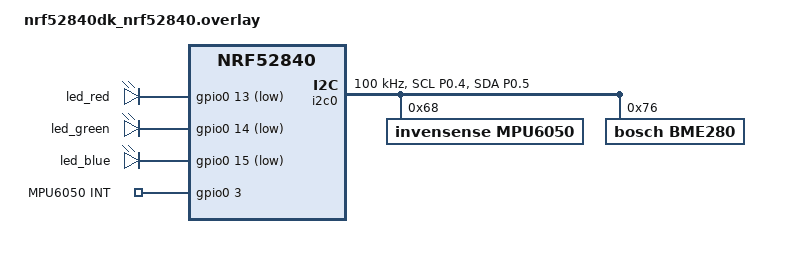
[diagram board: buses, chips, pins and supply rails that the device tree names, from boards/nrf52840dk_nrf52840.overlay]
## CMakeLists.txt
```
# 1. This MUST be the first line
cmake_minimum_required(VERSION 3.20.0)

# 2. This loads the Zephyr engine. 
# HINTS $ENV{ZEPHYR_BASE} is the "safety net" for the terminal.
find_package(Zephyr REQUIRED HINTS $ENV{ZEPHYR_BASE})

# 3. This MUST come AFTER find_package
project(lima-node)

# 4. This MUST come AFTER find_package because Zephyr defines 'app'
target_sources(app PRIVATE 
    src/main.c
    src/fsm.c
    src/crypto.c
    src/ble.c
    src/rtc.c
)
```

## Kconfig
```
# L.I.M.A. Firmware Configuration

source "Kconfig.zephyr"

config LIMA_MAIN_LOG_LEVEL
    int "LIMA main log level"
    default 3
    range 0 4

config LIMA_FSM_LOG_LEVEL
    int "LIMA FSM log level"
    default 3
    range 0 4

config LIMA_CRYPTO_LOG_LEVEL
    int "LIMA crypto log level"
    default 3
    range 0 4

config LIMA_DEEP_SLEEP_INTERVAL_MS
    int "Deep sleep wakeup interval (ms)"
    default 120000

config LIMA_BARO_THRESHOLD_PA
    int "Barometric pressure breach threshold in Pascals"
    default 5

config LIMA_CRYPTO_KEY_ID
    hex "PSA persistent key slot ID for LIMA signing key"
    default 0x00000001

config LIMA_BLE_LOG_LEVEL
    int "LIMA BLE log level"
    default 3
    range 0 4

config LIMA_BLE_ADV_DURATION_MS
    int "BLE advertisement duration (ms)"
    default 500

config LIMA_PROVISION_UNIX_TIME
    int "RTC provisioning timestamp (Unix epoch, 0 = disabled)"
    default 0

config LIMA_RTC_LOG_LEVEL
    int "LIMA RTC log level"
    default 3

config LIMA_FORCE_PROVISION
    bool "Force-write provisioning epoch to DS3231 and NVS on boot"
    default n

config LIMA_CRYPTO_AES_KEY_ID
	int "PSA persistent key slot ID for AES-256-GCM encryption key"
	default 2
	help
	  PSA ITS key slot for the AES-256 pre-shared key used for
	  GCM encryption of (LER || inner_sig) in the LIMA Frame (LF).
	  Must not conflict with CONFIG_LIMA_CRYPTO_KEY_ID (default 1).
	  On first boot the key is generated, logged in hex, and persisted.
	  Operator captures the hex from serial log and stores in Bitwarden.
```

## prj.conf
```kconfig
# Core Kernel Features
CONFIG_GPIO=y

# Logging
CONFIG_SERIAL=y
CONFIG_UART_CONSOLE=y
CONFIG_PRINTK=y
CONFIG_LOG=y
CONFIG_LOG_DEFAULT_LEVEL=3
CONFIG_LOG_MODE_DEFERRED=y

# I2C
CONFIG_I2C=y
CONFIG_I2C_LOG_LEVEL_DBG=y

# Sensors
CONFIG_SENSOR=y
CONFIG_MPU6050=y
CONFIG_BME280=y
CONFIG_LIMA_BARO_THRESHOLD_PA=5
CONFIG_BME280_FILTER_OFF=y

# RTC
CONFIG_COUNTER=y
CONFIG_POSIX_API=y
CONFIG_LIMA_PROVISION_UNIX_TIME=1774226034

# Stack protection / fault dumps
CONFIG_FAULT_DUMP=2
CONFIG_HW_STACK_PROTECTION=y
CONFIG_MPU_STACK_GUARD=y
CONFIG_WATCHDOG=y

# FPU for sqrt/math
CONFIG_FPU=y

# Heap and workqueue
CONFIG_HEAP_MEM_POOL_SIZE=8192
CONFIG_SYSTEM_WORKQUEUE_STACK_SIZE=8192
CONFIG_MAIN_STACK_SIZE=4096
CONFIG_LOG_BUFFER_SIZE=4096

# Power Management — PM_DEVICE only, CONFIG_PM not supported on this board
CONFIG_PM_DEVICE=y
CONFIG_LIMA_DEEP_SLEEP_INTERVAL_MS=6000
CONFIG_NRF_SECURITY=y
CONFIG_MBEDTLS_PSA_CRYPTO_C=y
CONFIG_MBEDTLS_ENABLE_HEAP=y
CONFIG_MBEDTLS_HEAP_SIZE=8192
CONFIG_PSA_CRYPTO_DRIVER_OBERON=y
CONFIG_PSA_WANT_GENERATE_RANDOM=y
CONFIG_PSA_WANT_ALG_CTR_DRBG=y
CONFIG_PSA_WANT_ALG_ECDSA=y
CONFIG_PSA_WANT_ALG_SHA_256=y
CONFIG_PSA_WANT_ECC_SECP_R1_256=y
CONFIG_PSA_WANT_KEY_TYPE_ECC_KEY_PAIR_GENERATE=y
CONFIG_PSA_WANT_KEY_TYPE_ECC_PUBLIC_KEY=y

# Bluetooth
CONFIG_BT=y
CONFIG_BT_BROADCASTER=y
CONFIG_BT_CTLR_ADV_DATA_LEN_MAX=255
CONFIG_BT_EXT_ADV=y
CONFIG_BT_EXT_ADV_MAX_ADV_SET=1
# CONFIG_BT_PERIPHERAL=y
CONFIG_BT_DEVICE_NAME="LIMA_NODE_01"

# Persistent storage
CONFIG_SETTINGS=y
CONFIG_SETTINGS_NVS=y
CONFIG_NVS_LOOKUP_CACHE=y

CONFIG_FLASH=y
CONFIG_FLASH_MAP=y
CONFIG_NVS=y
CONFIG_PSA_WANT_KEY_TYPE_ECC_KEY_PAIR_IMPORT=y
CONFIG_PSA_WANT_KEY_TYPE_ECC_KEY_PAIR_EXPORT=y
CONFIG_WATCHDOG=y
CONFIG_WDT_NRFX=y
CONFIG_SETTINGS_RUNTIME=y
CONFIG_SECURE_STORAGE=y

CONFIG_SHELL=y
CONFIG_I2C_SHELL=y
```

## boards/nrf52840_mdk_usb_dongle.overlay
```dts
&i2c0 {
    status = "okay";
    pinctrl-0 = <&i2c0_default>;
    pinctrl-1 = <&i2c0_sleep>;
    pinctrl-names = "default","sleep";
    mpu6050@68 {
        compatible = "invensense,mpu6050";
        reg = <0x68>;
        int-gpios = <&gpio0 8 GPIO_ACTIVE_HIGH>;
    };
};


&pinctrl {
    i2c0_default: i2c0_default {
        group1 {
            psels = <NRF_PSEL(TWIM_SCL, 0, 19)>,
                    <NRF_PSEL(TWIM_SDA, 0, 20)>;
            bias-pull-up;        
        };
    };
    uart0_default: uart0_default {
        group1 {
            psels = <NRF_PSEL(UART_TX, 0, 6)>;
            bias-disable;
        };
    };
    uart0_sleep: uart0_sleep {
        group1 {
            psels = <NRF_PSEL(UART_TX, 0, 6)>;
            low-power-enable;
        };
    };
    i2c0_sleep: i2c0_sleep {
        group1 {
            psels = <NRF_PSEL(TWIM_SCL, 0, 19)>,
                    <NRF_PSEL(TWIM_SDA, 0, 20)>;
            low-power-enable;
        };
    };
};

&uart0 {
    status = "okay";
    current-speed = <115200>;
    pinctrl-0 = <&uart0_default>;
    pinctrl-1 = <&uart0_sleep>;
    pinctrl-names = "default", "sleep";
};


/ {
    leds {
        compatible = "gpio-leds";
        led_red: led_0 {
            gpios = <&gpio0 23 GPIO_ACTIVE_LOW>;
        };
        led_green: led_1 {
            gpios = <&gpio0 22 GPIO_ACTIVE_LOW>;
        };
        led_blue: led_2 {
            gpios = <&gpio0 24 GPIO_ACTIVE_LOW>;
        };
    };
    
    keys {
        compatible = "gpio-keys";
        mpu_int: mpu_int {
            gpios = <&gpio0 8 GPIO_ACTIVE_HIGH>;
            label = "MPU6050 INT";
        };
    };

    aliases {
        led0 = &led_red;
        led1 = &led_green;
        led2 = &led_blue;
        mpu-int = &mpu_int;    // ← add this
    };
};
```

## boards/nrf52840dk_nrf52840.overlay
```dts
&i2c0 {
    compatible = "nordic,nrf-twim";
    /delete-property/ zephyr,pm-device-runtime-auto;
    status = "okay";
    pinctrl-0 = <&i2c0_default>;
    pinctrl-1 = <&i2c0_sleep>;
    pinctrl-names = "default", "sleep";
    clock-frequency = <I2C_BITRATE_STANDARD>;

    mpu6050: mpu6050@68 {
        compatible = "invensense,mpu6050";
        reg = <0x68>;
        status = "okay";
        accel-fs = <2>;
        gyro-fs = <250>;
        smplrt-div = <0>;
    };

    bme280: bme280@76 {
        compatible = "bosch,bme280";
        reg = <0x76>;
        status = "okay";
    };
};

&pinctrl {
    i2c0_default: i2c0_default {
        group1 {
            psels = <NRF_PSEL(TWIM_SCL, 0, 4)>,
                    <NRF_PSEL(TWIM_SDA, 0, 5)>;
            bias-pull-up;
        };
    };
    i2c0_sleep: i2c0_sleep {
        group1 {
            psels = <NRF_PSEL(TWIM_SCL, 0, 4)>,
                    <NRF_PSEL(TWIM_SDA, 0, 5)>;
            low-power-enable;
        };
    };
};

// nrf52840 usb dongle version UART
// &pinctrl {
//     uart0_default: uart0_default {
//         group1 {
//             psels = <NRF_PSEL(UART_TX, 0, 6)>,
//                     <NRF_PSEL(UART_RX, 0, 8)>;
//             bias-disable;
//         };
//     };
//     uart0_sleep: uart0_sleep {
//         group1 {
//             psels = <NRF_PSEL(UART_TX, 0, 6)>,
//                     <NRF_PSEL(UART_RX, 0, 8)>;
//             low-power-enable;
//         };
//     };
// };
// &uart0 {
//     status = "okay";
//     current-speed = <115200>;
//     pinctrl-0 = <&uart0_default>;
//     pinctrl-1 = <&uart0_sleep>;
//     pinctrl-names = "default", "sleep";
// };

/ {
    leds {
        compatible = "gpio-leds";
        led_red: led_0 {
            gpios = <&gpio0 13 GPIO_ACTIVE_LOW>;
        };
        led_green: led_1 {
            gpios = <&gpio0 14 GPIO_ACTIVE_LOW>;
        };
        led_blue: led_2 {
            gpios = <&gpio0 15 GPIO_ACTIVE_LOW>;
        };
    };
    keys {
        compatible = "gpio-keys";
        mpu_int: mpu_int {
            gpios = <&gpio0 3 GPIO_ACTIVE_HIGH>;
            label = "MPU6050 INT";
        };
    };
    aliases {
        led0 = &led_red;
        led1 = &led_green;
        led2 = &led_blue;
        mpu-int = &mpu_int;
    };
};
```

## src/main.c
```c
/*
 * ============================================================================
 * Project: L.I.M.A. (Local Integrity Multi-modal Architecture)
 * File:    main.c
 * Author:  Justin Knox
 * Date:    Feb 2026
 *
 * Description: 
 * Event-driven FSM for edge integrity monitoring. Uses a decoupled 
 * thread model to separate high-frequency sensor polling from 
 * cryptographic signing and BLE transmission states.
 *
 * Architecture:
 * ├── #includes & defines     (System & Zephyr RTOS config)
 * ├── Hardware Globals        (LEDs, MPU6050, Message Queues)
 * ├── HAL & Stubs             (I2C Recovery, IMU Read, Crypto/BLE stubs)
 * ├── FSM Engine              (State transitions & Entry/Exit logic)
 * ├── fsm_dispatch()          (Event-to-State routing)
 * ├── Thread Functions        (sensor_thread_fn, fsm_thread_fn)
 * ├── K_THREAD_DEFINE x2      (Static thread allocation)
 * └── main()                  (Hardware init & Thread resumption)
 * ============================================================================
 */

#include <zephyr/kernel.h>
#include <zephyr/kernel/thread.h>
#include <zephyr/drivers/gpio.h>
#include <zephyr/drivers/sensor.h>
#include <zephyr/drivers/watchdog.h>
#include <zephyr/logging/log.h>
#include <zephyr/bluetooth/bluetooth.h>
#include <zephyr/settings/settings.h>
#include <zephyr/drivers/i2c.h>
#include <zephyr/sys/notify.h>
#include "ble.h"
#include <math.h>
#include <time.h>
#include "events.h"
#include "fsm.h"
#include "crypto.h"
#include "rtc.h"

LOG_MODULE_REGISTER(lima_main, LOG_LEVEL_INF);

// #define I2C0_SCL_PIN 19
// #define I2C0_SDA_PIN 20
#define I2C0_SCL_PIN 04
#define I2C0_SDA_PIN 05

/* ── Board definitions ───────────────────────────────────────────────────── */

#define LED_R_NODE DT_ALIAS(led0)
#define LED_G_NODE DT_ALIAS(led1)
#define LED_B_NODE DT_ALIAS(led2)

/* ── Configuration ───────────────────────────────────────────────────────── */

#define FSM_MSGQ_DEPTH          16
#define FSM_THREAD_PRIORITY     5
#define SENSOR_THREAD_PRIORITY  6
#define POLL_INTERVAL_MS        60      /* 16.67 Hz — matches your working blinky */
#define COOLDOWN_MS_DEFAULT     5000    /* 5s default; tune per deployment         */
#define MOTION_THRESHOLD_G      0.80     /* 1.1 good for table top     */
#define FSM_STACK_SIZE          8192  // Double it again
#define SENSOR_STACK_SIZE       4096  // Double it again


/* ── Hardware globals ────────────────────────────────────────────────────── */

static const struct gpio_dt_spec led_r = GPIO_DT_SPEC_GET(LED_R_NODE, gpios);
static const struct gpio_dt_spec led_g = GPIO_DT_SPEC_GET(LED_G_NODE, gpios);
static const struct gpio_dt_spec led_b = GPIO_DT_SPEC_GET(LED_B_NODE, gpios);

/* motion sensor */
static const struct device *mpu;
static struct sensor_value accel[3];

/* baro sensor */
static const struct device *bme;
static struct sensor_value baro_press;
static float baro_baseline_hpa = 0.0f;

/* Sleep LED state */
static struct k_work_delayable sleep_led_work;
static uint8_t sleep_led_on = 0;
static uint32_t sleep_led_interval_ms = 0;
static uint8_t sleep_led_white = 0;  /* 1 = white pulse (deep), 0 = red+blue (light) */


/* I2C prototype */
static void hw_i2c_bus_recovery(void);

/* onboard watchdog */
const struct device *wdt = DEVICE_DT_GET(DT_NODELABEL(wdt0));
static int wdt_channel_id;


/* ── Message queue ───────────────────────────────────────────────────────── */

K_MSGQ_DEFINE(fsm_msgq, sizeof(lima_event_t), FSM_MSGQ_DEPTH, 4);

int lima_post_event(const lima_event_t *evt)
{
    return k_msgq_put(&fsm_msgq, evt, K_NO_WAIT);
}

/* Non-blocking timer for cooldown */
// static struct k_work_delayable cooldown_work; 

/* Non-blocking timer tx timeout */
// static struct k_work_delayable tx_timeout_work;

/* Threads */
static void sensor_thread_fn(void *p1, void *p2, void *p3);
static void fsm_thread_fn(void *p1, void *p2, void *p3);


/* ── Heartbeat timer (ARMED state blue pulse) ────────────────────────────── */

static void heartbeat_expiry_fn(struct k_timer *timer_id);
K_TIMER_DEFINE(heartbeat_timer, heartbeat_expiry_fn, NULL);

static void heartbeat_expiry_fn(struct k_timer *timer_id)
{
    ARG_UNUSED(timer_id);
    static uint8_t tick = 0;

    /* Double-blink pattern: on at tick 0 and 2, off otherwise.
     * Period = 20 ticks × 100 ms = 2 seconds. */
    bool led_on = (tick == 0 || tick == 2);
    gpio_pin_set_dt(&led_b, led_on ? 1 : 0);
    tick = (tick + 1) % 20;
}

/* ── Sleep LED timer ─────────────────────────────────────────────────────── */

static void sleep_led_expiry_fn(struct k_work *work)
{
    sleep_led_on = !sleep_led_on;
    gpio_pin_set_dt(&led_r, sleep_led_on ? 1 : 0);
    gpio_pin_set_dt(&led_g, (sleep_led_on && sleep_led_white) ? 1 : 0);
    gpio_pin_set_dt(&led_b, sleep_led_on ? 1 : 0);

    /* Reschedule only if interval is still set */
    if (sleep_led_interval_ms > 0) {
        k_work_reschedule(&sleep_led_work, K_MSEC(sleep_led_interval_ms));
    }
}

/* ── WDT keepalive timer ──────────────────────────────────────────────────── */

static void wdt_keepalive_cb(struct k_timer *t) {
    LOG_INF("[WDT] keepalive ticked..........");
    fsm_hw_wdt_kick();
}
K_TIMER_DEFINE(wdt_keepalive_timer, wdt_keepalive_cb, NULL);


/* ── Node identity ───────────────────────────────────────────────────────── */

static uint8_t node_id[6];

static void hw_init_node_id(void)
{
    bt_addr_le_t addr;
    size_t count = 1;

    bt_id_get(&addr, &count);

    /* Copy in reverse — BT address is little-endian, node_id is human-readable */
    for (int i = 0; i < 6; i++) {
        node_id[i] = addr.a.val[5 - i];
    }

    LOG_INF("NODE ID: %02X:%02X:%02X:%02X:%02X:%02X",
            node_id[0], node_id[1], node_id[2],
            node_id[3], node_id[4], node_id[5]);

    k_timer_start(&wdt_keepalive_timer, K_MSEC(15000), K_MSEC(15000));
}

/* ── Hardware Abstraction Layer ──────────────────────────────────────────── */

static int hw_init_sensors(void)
{
    mpu = DEVICE_DT_GET_ANY(invensense_mpu6050);

    if (mpu == NULL) {
        LOG_ERR("MPU6050 device not found in devicetree!");
        return -ENODEV;
    }
    if (!device_is_ready(mpu)) {
        LOG_ERR("MPU6050 not ready!");
        return -ENODEV;
    }
    LOG_INF("MPU6050 ready");

    bme = DEVICE_DT_GET_ANY(bosch_bme280);

    if (bme == NULL) {
        LOG_ERR("BME280 device not found in devicetree!");
        return -ENODEV;
    }
    if (!device_is_ready(bme)) {
        LOG_ERR("BME280 not ready!");
        return -ENODEV;
    }
    LOG_INF("BME280 ready");
    return 0;
}

static double hw_read_imu(void)
{
    if (mpu == NULL) return -1.0;

    int ret = sensor_sample_fetch(mpu);
    if (ret < 0) {
        // LOG_WRN("MPU6050: fetch failed (%d)", ret);
        LOG_WRN("MPU6050: fetch failed (%d), attempting bus recovery", ret);
        hw_i2c_bus_recovery();
        k_msleep(10);
        ret = sensor_sample_fetch(mpu);
        if (ret < 0) {
            LOG_ERR("MPU6050: fetch failed after recovery (%d)", ret);
            return -1.0;
        }
        LOG_INF("MPU6050: recovered successfully");
    }
    
    sensor_channel_get(mpu, SENSOR_CHAN_ACCEL_XYZ, accel);

    double ax = sensor_value_to_double(&accel[0]);
    double ay = sensor_value_to_double(&accel[1]);
    double az = sensor_value_to_double(&accel[2]);

    double mag_ms2   = sqrt(ax * ax + ay * ay + az * az);
    double current_g = mag_ms2 / 9.80665;
    double motion_g  = fabs(current_g - 1.0);

    LOG_DBG("Raw: %.2f m/s2 | Motion: %.2f G", mag_ms2, motion_g);
    return motion_g;
}

static float hw_read_baro(void)
{
    if (bme == NULL) return 0.0f;

    int ret = sensor_sample_fetch(bme);
    if (ret < 0) {
        LOG_WRN("BME280: fetch failed (%d), attempting bus recovery", ret);
        hw_i2c_bus_recovery();
        k_msleep(10);
        ret = sensor_sample_fetch(bme);
        if (ret < 0) {
            LOG_ERR("BME280: fetch failed after recovery (%d)", ret);
            return 0.0f;
        }
        LOG_INF("BME280: recovered successfully");
    }

    sensor_channel_get(bme, SENSOR_CHAN_PRESS, &baro_press);
    float abs_hpa = (float)sensor_value_to_double(&baro_press);
    
    /* First reading sets the baseline */
    if (baro_baseline_hpa == 0.0f) {
        baro_baseline_hpa = abs_hpa;
        LOG_INF("BARO: baseline set to %.2f hPa", (double)abs_hpa);
        return 0.0f;
    }

    /* Compute delta BEFORE updating baseline */
    float delta_pa = (abs_hpa - baro_baseline_hpa) * 100.0f;
    LOG_DBG("BARO: %.2f hPa | delta %.2f Pa", (double)abs_hpa, (double)delta_pa);

    /* Now walk baseline toward current reading to absorb slow drift */
    baro_baseline_hpa += (abs_hpa - baro_baseline_hpa) * 0.01f;

    return delta_pa;
}

static void hw_i2c_bus_recovery(void)
{
    LOG_INF("BOOT: I2C bus recovery on P0.%d/P0.%d", I2C0_SCL_PIN, I2C0_SDA_PIN);

    // const struct device *gpio0_dev = DEVICE_DT_GET(DT_NODELABEL(gpio0));
    // if (!device_is_ready(gpio0_dev)) {
    //     LOG_ERR("GPIO0 device not ready for recovery");
    //     return;
    // }

    // gpio_pin_configure(gpio0_dev, I2C0_SCL_PIN, GPIO_OUTPUT_HIGH);
    // gpio_pin_configure(gpio0_dev, I2C0_SDA_PIN, GPIO_INPUT);

    // for (int i = 0; i < 9; i++) {
    //     gpio_pin_set_raw(gpio0_dev, I2C0_SCL_PIN, 1);
    //     k_busy_wait(5);
    //     gpio_pin_set_raw(gpio0_dev, I2C0_SCL_PIN, 0);
    //     k_busy_wait(5);
    // }
    // gpio_pin_set_raw(gpio0_dev, I2C0_SCL_PIN, 1);

    // gpio_pin_configure(gpio0_dev, I2C0_SCL_PIN, GPIO_DISCONNECTED);
    // gpio_pin_configure(gpio0_dev, I2C0_SDA_PIN, GPIO_DISCONNECTED);

    LOG_INF("BOOT: I2C recovery complete");
}


/* ── HAL Stubs (swap in real implementations one at a time) ──────────────── */

static int hw_calibrate(void)
{
    LOG_INF("[STUB] calibrate");
    return 0;
}

static int hw_enable_irqs(void)
{
    LOG_INF("[STUB] enable_sensor_irqs");
    return 0;
}

static int hw_enter_light_sleep(void)
{
    LOG_INF("[SLEEP] light sleep active — waiting for sensor IRQ or inactivity timeout");
    // TODO: real PM_STATE_SUSPEND_TO_IDLE goes here
    // Duration is now owned by inactivity_work timer in fsm.c
    return 0;
}

static int hw_sign_event(lima_event_t *e)
{
    LOG_INF("[STUB] sign_event type=0x%02X", e->type);
    return 0;
}

static int hw_ble_advertise(lima_event_t *e)
{
    LOG_INF("[STUB] ble_advertise type=0x%02X", e->type);
    return 0;
}

static int hw_ble_stop(void)
{
    LOG_INF("[STUB] ble_stop");
    return 0;
}

static void hw_assert_fault_led(void)
{
    LOG_INF("[STUB] assert_fault_led");
}

static int hw_try_recover(void)
{
    LOG_INF("[STUB] try_recover");
    return 0;
}

void fsm_hw_wdt_kick(void)
{
    wdt_feed(wdt, wdt_channel_id);
}

static void hw_watchdog_init(void)
{
    struct wdt_timeout_cfg wdt_cfg = {
        .flags = WDT_FLAG_RESET_SOC,
        .window.min = 0,
        .window.max = 30000,   /* 30s — comfortably above worst-case FSM path */
    };

    if (!device_is_ready(wdt)) {
        LOG_ERR("WDT: device not ready");
        return;
    }

    wdt_channel_id = wdt_install_timeout(wdt, &wdt_cfg);
    if (wdt_channel_id < 0) {
        LOG_ERR("WDT: timeout install failed (%d)", wdt_channel_id);
        return;
    }

    int ret = wdt_setup(wdt, WDT_OPT_PAUSE_HALTED_BY_DBG);
    if (ret < 0) {
        LOG_ERR("WDT: setup failed (%d)", ret);
        return;
    }
    
    // k_work_init_delayable(&rtc_fallback_work, rtc_fallback_cb);

    LOG_INF("WDT: armed — 30s timeout, SOC reset on expiry");
    fsm_hw_wdt_kick();
}

static void hw_notify_low_battery(void)
{
    LOG_INF("[STUB] notify_low_battery");
}

/* Suppress "defined but not used" warnings for stubs not yet wired */
static void __attribute__((unused)) suppress_stub_warnings(void)
{
    (void)hw_calibrate;
    (void)hw_enable_irqs;
    (void)hw_sign_event;
    (void)hw_ble_advertise;
    (void)hw_ble_stop;
    (void)hw_assert_fault_led;
    (void)hw_try_recover;
    (void)hw_notify_low_battery;
}

/* ── fsm_hw_* Trampolines (called by fsm.c) ──────────────────────────────── */

void fsm_hw_enter_sleep(void)
{
    hw_enter_light_sleep();
}

void fsm_hw_enter_deep_sleep(void)
{
    lima_rtc_arm_wakeup(CONFIG_LIMA_DEEP_SLEEP_INTERVAL_MS);
    hw_ble_stop();
}

/**
 * @brief Physical hardware response to FSM state changes.
 *        Called by fsm.c during every transition.
 */
void fsm_hw_set_led(lima_state_t state)
{
    /* Stop the heartbeat before changing LEDs; restart it only for ARMED */
    k_timer_stop(&heartbeat_timer);
    k_work_cancel_delayable(&sleep_led_work);
    sleep_led_interval_ms = 0;
    
    gpio_pin_set_dt(&led_r, 0);
    gpio_pin_set_dt(&led_g, 0);
    gpio_pin_set_dt(&led_b, 0);

    switch (state) {
    case STATE_BOOT:
    case STATE_CALIBRATING:
        /* White (R+G+B) during init */
        gpio_pin_set_dt(&led_r, 1);
        gpio_pin_set_dt(&led_g, 1);
        gpio_pin_set_dt(&led_b, 1);
        break;

    case STATE_ARMED:
        /* Blue double-blink heartbeat */
        k_timer_start(&heartbeat_timer, K_MSEC(100), K_MSEC(100));
        break;

    case STATE_EVENT_DETECTED:
    case STATE_SIGNING:
    case STATE_TRANSMITTING:
        /* Solid Red during active alert pipeline */
        gpio_pin_set_dt(&led_r, 1);
        break;

    case STATE_COOLDOWN:
        /* Yellow (R+G) during suppression window */
        gpio_pin_set_dt(&led_r, 1);
        gpio_pin_set_dt(&led_g, 1);
        break;

    case STATE_FAULT:
        /* Solid Red + log */
        gpio_pin_set_dt(&led_r, 1);
        LOG_ERR("HARDWARE: Fault LED asserted");
        break;

    case STATE_LOW_BATTERY:
        /* Dim amber: just Red at low duty — use solid for simplicity now */
        gpio_pin_set_dt(&led_r, 1);
        break;

    case STATE_LIGHT_SLEEP:
        sleep_led_white = 0;
        sleep_led_interval_ms = 2000;
        k_work_reschedule(&sleep_led_work, K_MSEC(sleep_led_interval_ms));
        break;

    case STATE_DEEP_SLEEP:
        /* Slow white ghost-pulse — all three channels, 4s interval */
        sleep_led_white = 1;
        gpio_pin_set_dt(&led_r, 1);
        gpio_pin_set_dt(&led_g, 1);
        gpio_pin_set_dt(&led_b, 1);
        sleep_led_interval_ms = 4000;
        k_work_reschedule(&sleep_led_work, K_MSEC(sleep_led_interval_ms));
        break;

    default:
        /* Dark for sleep states */
        break;
    }
}

/* ── Sensor Thread ───────────────────────────────────────────────────────── */

static void sensor_thread_fn(void *p1, void *p2, void *p3)
{
    ARG_UNUSED(p1); ARG_UNUSED(p2); ARG_UNUSED(p3);
    LOG_INF("Sensor thread started... sleeping 500ms for FSM boot & calibration...");

    /* Wait for FSM to finish BOOT + CALIBRATING */
    k_sleep(K_MSEC(500));

    LOG_INF("Sensor thread: 500ms expired...");
    
    while (1) {
    lima_state_t s = fsm_get_state();
    if (s == STATE_ARMED || s == STATE_LIGHT_SLEEP) {
        bool event_fired = false;

        double magnitude = hw_read_imu();
        if (magnitude >= 0.0 && magnitude > MOTION_THRESHOLD_G) {
            LOG_INF("MOTION: %.2f g (threshold=%.2f)", magnitude, MOTION_THRESHOLD_G);
            lima_event_t e = {
                .type             = LIMA_EVT_MOTION_DETECTED,
                .timestamp_ms     = (uint32_t)lima_rtc_timestamp_ms(),
                .data.imu.accel_g = (float)magnitude,
            };
            lima_post_event(&e);
            event_fired = true;
        }
        float delta_pa = hw_read_baro();
        if (fabsf(delta_pa) > CONFIG_LIMA_BARO_THRESHOLD_PA) {
            LOG_INF("BARO: delta=%.2f Pa (threshold=%d)", (double)delta_pa, CONFIG_LIMA_BARO_THRESHOLD_PA);
            lima_event_t e = {
                .type               = LIMA_EVT_PRESSURE_BREACH,
                .timestamp_ms = (uint32_t)lima_rtc_timestamp_ms(),
                .data.baro.delta_pa = delta_pa,
            };
            lima_post_event(&e);
            event_fired = true;
        }

        if (!event_fired) {
            lima_event_t tick = {
                .type         = LIMA_EVT_POLL_TICK,
                .timestamp_ms = (uint32_t)lima_rtc_timestamp_ms(),
            };
            lima_post_event(&tick);
        }
    }
    k_msleep(POLL_INTERVAL_MS);
}
}



/* ── FSM thread ──────────────────────────────────────────────────────────── */

static void fsm_thread_fn(void *p1, void *p2, void *p3)
{
    ARG_UNUSED(p1); ARG_UNUSED(p2); ARG_UNUSED(p3);
    LOG_INF("FSM thread started");

    fsm_init();

    lima_event_t msg;
    while (1) {
        if (k_msgq_get(&fsm_msgq, &msg, K_FOREVER) == 0) {
            fsm_dispatch(&msg);
        }
    }
}

K_THREAD_DEFINE(fsm_thread, FSM_STACK_SIZE,
                fsm_thread_fn, NULL, NULL, NULL,
                FSM_THREAD_PRIORITY, 0, 0);

K_THREAD_DEFINE(sensor_thread, SENSOR_STACK_SIZE,
                sensor_thread_fn, NULL, NULL, NULL,
                SENSOR_THREAD_PRIORITY, 0, 0);
                
/* ── main ────────────────────────────────────────────────────────────────── */

int main(void)
{
    LOG_INF("L.I.M.A. node firmware starting");
    LOG_INF("L.I.M.A.: suspending threads...");

    hw_watchdog_init();
    k_thread_suspend(fsm_thread);
    k_thread_suspend(sensor_thread);

    LOG_INF("L.I.M.A.: ... threads suspended");
    
    gpio_pin_configure_dt(&led_r, GPIO_OUTPUT_INACTIVE);
    gpio_pin_configure_dt(&led_g, GPIO_OUTPUT_INACTIVE);
    gpio_pin_configure_dt(&led_b, GPIO_OUTPUT_INACTIVE);

    LOG_INF("L.I.M.A.: ... gpio led pins assigned");

    hw_i2c_bus_recovery();

    k_msleep(50); 
    if (hw_init_sensors() != 0) {
        LOG_ERR("Sensor init failed!");
        // post SENSOR_FAULT event or spin
    }
    settings_load();

    int rtc_ret = lima_rtc_init();
    if (rtc_ret == LIMA_RTC_ERR_SKEW) {
        LOG_WRN("[RTC] skew detected — posting tamper event");
        lima_event_t e = {
            .type         = LIMA_EVT_TAMPER_DETECTED,
            .timestamp_ms = (uint32_t)lima_rtc_timestamp_ms(),
        };
        lima_post_event(&e);
    } else if (rtc_ret != LIMA_RTC_OK && rtc_ret != LIMA_RTC_ERR_FALLBACK) {
        LOG_ERR("[RTC] init failed (%d)", rtc_ret);
    }

    for (int i = 0; i < 6; i++) {
        LOG_INF("USB settle: %d/6 - start sleep", i + 1);
        k_msleep(1000);
        LOG_INF("USB settle: %d/6 - done", i + 1);
    }


    
    if (lima_crypto_init() != 0) {
        LOG_ERR("Crypto init failed — signing unavailable");
    }
    
    bt_enable(NULL);
    hw_init_node_id();
    if (lima_ble_init() != 0) {
        LOG_ERR("BLE init failed — transmitting unavailable");
    }


    k_work_init_delayable(&sleep_led_work, sleep_led_expiry_fn);

    LOG_INF("Starting LIMA threads...");
    k_thread_resume(fsm_thread);
    k_thread_resume(sensor_thread);

    return 0;
}
```

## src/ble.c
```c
/*
 * L.I.M.A. — Local Integrity Multi-modal Architecture
 * ble.c — BLE 5.0 extended non-connectable advertising of lima_lf_t (LIMA Frame)
 *
 * Encodes a pre-assembled lima_lf_t into manufacturer-specific AD data
 * and advertises as extended ADV_NONCONN_IND (184 bytes) via bt_le_ext_adv API.
 * Completion callback posts LIMA_EVT_TX_COMPLETE or LIMA_EVT_BLE_FAULT
 * to the FSM queue via fsm.c.
 *
 * Wire format spec: docs/dev/frame-record-spec.md
 *
 * Call order (from main.c and fsm.c):
 *   1. lima_ble_init()        — once, after bt_enable() in main.c
 *   2. lima_ble_advertise()   — called from state_transmitting_enter()
 */

#include <zephyr/kernel.h>
#include <zephyr/logging/log.h>
#include <zephyr/bluetooth/bluetooth.h>
#include <zephyr/bluetooth/hci.h>
#include <string.h>
#include "ble.h"
#include "crypto.h"

LOG_MODULE_REGISTER(lima_ble, CONFIG_LIMA_BLE_LOG_LEVEL);

/* ── Private state ───────────────────────────────────────────────────────── */

static bool                    ble_initialized = false;
static lima_ble_cb_t           adv_cb          = NULL;
static struct k_work_delayable adv_stop_work;
static struct bt_le_ext_adv   *ext_adv         = NULL;

/* ── AD buffers ──────────────────────────────────────────────────────────── */

/* LIMA Frame buffer — populated per-advertisement from the pre-assembled LF */
static lima_lf_t lf_buf;

static struct bt_data adv_data[] = {
    /* Manufacturer specific — 184 bytes: full LIMA Frame (LF) */
    BT_DATA(BT_DATA_MANUFACTURER_DATA,
            &lf_buf,
            sizeof(lima_lf_t)),
};

/* ── Advertisement stop work ─────────────────────────────────────────────── */

static void adv_stop_fn(struct k_work *work)
{
    ARG_UNUSED(work);

    int err = bt_le_ext_adv_stop(ext_adv);
    if (err) {
        LOG_ERR("BLE: ext adv stop failed (%d)", err);
        if (adv_cb) {
            adv_cb(LIMA_BLE_FAIL);
            adv_cb = NULL;
        }
        return;
    }

    LOG_INF("BLE: advertisement complete");
    if (adv_cb) {
        adv_cb(LIMA_BLE_OK);
        adv_cb = NULL;
    }
}

/* ── Public API ──────────────────────────────────────────────────────────── */

int lima_ble_init(void)
{
    if (ble_initialized) {
        LOG_WRN("BLE: already initialized");
        return 0;
    }

    k_work_init_delayable(&adv_stop_work, adv_stop_fn);

    /* Create extended advertising set — non-connectable, identity address */
    struct bt_le_adv_param param = BT_LE_ADV_PARAM_INIT(
        BT_LE_ADV_OPT_USE_IDENTITY |
        BT_LE_ADV_OPT_EXT_ADV,
        BT_GAP_ADV_FAST_INT_MIN_2,
        BT_GAP_ADV_FAST_INT_MAX_2,
        NULL
    );

    int err = bt_le_ext_adv_create(&param, NULL, &ext_adv);
    if (err) {
        LOG_ERR("BLE: ext adv create failed (%d)", err);
        return err;
    }

    ble_initialized = true;
    LOG_INF("BLE: initialized — LIMA node ready to advertise (ext ADV, 184B LF)");
    return 0;
}

int lima_ble_advertise(const lima_lf_t *lf, lima_ble_cb_t cb)
{
    if (!ble_initialized) {
        LOG_ERR("BLE: not initialized — call lima_ble_init() first");
        return -ECANCELED;
    }

    if (lf == NULL || cb == NULL) {
        LOG_ERR("BLE: NULL parameter");
        return -EINVAL;
    }

    /* Copy pre-assembled LF into the AD buffer */
    memcpy(&lf_buf, lf, sizeof(lima_lf_t));

    LOG_INF("BLE: advertising LF — proto=0x%02X evt=0x%02X "
            "nonce[0..3]=%02X%02X%02X%02X outer_sig[0..3]=%02X%02X%02X%02X",
            lf_buf.proto_version,
            lf_buf.event_type,
            lf_buf.nonce[0], lf_buf.nonce[1],
            lf_buf.nonce[2], lf_buf.nonce[3],
            lf_buf.outer_sig[0], lf_buf.outer_sig[1],
            lf_buf.outer_sig[2], lf_buf.outer_sig[3]);
    LOG_HEXDUMP_INF((const uint8_t *)&lf_buf, sizeof(lf_buf), "  LF:");

    /* Update advertising data */
    int err = bt_le_ext_adv_set_data(ext_adv,
                                     adv_data, ARRAY_SIZE(adv_data),
                                     NULL, 0);
    if (err) {
        LOG_ERR("BLE: ext adv set data failed (%d)", err);
        return err;
    }

    /* Store callback before starting */
    adv_cb = cb;

    /* Start extended advertising */
    struct bt_le_ext_adv_start_param start_param = {
        .timeout    = 0,   /* no timeout — stopped via work queue */
        .num_events = 0,   /* advertise indefinitely until stopped */
    };

    err = bt_le_ext_adv_start(ext_adv, &start_param);
    if (err) {
        LOG_ERR("BLE: ext adv start failed (%d)", err);
        adv_cb = NULL;
        return err;
    }

    LOG_INF("BLE: advertising for %d ms", CONFIG_LIMA_BLE_ADV_DURATION_MS);

    /* Schedule stop */
    k_work_reschedule(&adv_stop_work,
                      K_MSEC(CONFIG_LIMA_BLE_ADV_DURATION_MS));

    return 0;
}
```

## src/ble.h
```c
/*
 * L.I.M.A. — Local Integrity Multi-modal Architecture
 * ble.h — BLE advertising API
 *
 * Non-connectable extended advertising of lima_lf_t (LIMA Frame).
 * Caller initializes once, then calls lima_ble_advertise() per event.
 * Completion callback posts LIMA_EVT_TX_COMPLETE or LIMA_EVT_BLE_FAULT
 * to the FSM queue.
 *
 * Call order:
 *   1. lima_ble_init()        — once, after bt_enable() in main.c
 *   2. lima_ble_advertise()   — called from state_transmitting_enter()
 *
 * Wire format spec: docs/dev/frame-record-spec.md
 */

#ifndef LIMA_BLE_H
#define LIMA_BLE_H

#include <stdint.h>
#include "crypto.h"

/* ── Result ──────────────────────────────────────────────────────────────── */

typedef enum {
    LIMA_BLE_OK   = 0,
    LIMA_BLE_FAIL = -1,
} lima_ble_err_t;

/* ── Callback ────────────────────────────────────────────────────────────── */

typedef void (*lima_ble_cb_t)(lima_ble_err_t err);

/* ── API ─────────────────────────────────────────────────────────────────── */

/**
 * @brief Initialize the BLE subsystem for LIMA advertising.
 *
 * Must be called once from main.c after bt_enable() completes.
 *
 * @return 0 on success, negative errno on failure.
 */
int lima_ble_init(void);

/**
 * @brief Advertise a LIMA Frame (LF) as a BLE 5.0 extended advertisement.
 *
 * Encodes LF into manufacturer-specific AD data and starts a
 * non-connectable extended advertisement. Advertisement stops
 * automatically after CONFIG_LIMA_BLE_ADV_DURATION_MS milliseconds.
 * cb() is invoked on completion or error.
 *
 * @param lf   Fully assembled LIMA Frame (encrypted + signed).
 * @param cb   Completion callback — must be non-NULL.
 * @return 0 if advertising started, negative errno on failure.
 */
int lima_ble_advertise(const lima_lf_t *lf, lima_ble_cb_t cb);

#endif /* LIMA_BLE_H */
```

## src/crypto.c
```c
/*
 * L.I.M.A. — Local Integrity Multi-modal Architecture
 * crypto.c — PSA ECDSA-P256 signing + AES-256-GCM encryption module
 *
 * Key storage : Nordic KMU via persistent PSA key slots
 * Inner sign  : ECDSA-P256/SHA-256 over lima_ler_t (24B)
 * Encrypt     : AES-256-GCM over (LER || inner_sig) (88B plaintext)
 * Outer sign  : ECDSA-P256/SHA-256 over LF[0..120] (120B)
 *
 * All three operations are CryptoCell-310 hardware-accelerated.
 * Wire format spec: docs/architecture/frame-record-spec.md
 *
 * Call order:
 *   1. lima_crypto_init()        — once, before fsm_init()
 *   2. lima_crypto_build_ler()   — populate LER from fsm.last_event
 *   3. lima_crypto_sign_async()  — inner sign LER
 *   4. lima_crypto_build_lf()    — encrypt + outer sign → LF
 */

#include <zephyr/kernel.h>
#include <zephyr/logging/log.h>
#include <zephyr/bluetooth/bluetooth.h>
#include <psa/crypto.h>
#include <string.h>
#include "crypto.h"
#include "events.h"

LOG_MODULE_REGISTER(lima_crypto, CONFIG_LIMA_CRYPTO_LOG_LEVEL);

/* ── Private state ───────────────────────────────────────────────────────── */

static uint32_t     sequence_counter = 0;
static psa_key_id_t signing_key_id   = PSA_KEY_ID_NULL;
static psa_key_id_t aes_key_id       = PSA_KEY_ID_NULL;

/* ── Internal helpers ────────────────────────────────────────────────────── */

static psa_status_t provision_ecdsa_key(psa_key_id_t *out_key_id)
{
    psa_key_attributes_t attr = PSA_KEY_ATTRIBUTES_INIT;

    psa_set_key_lifetime(&attr, PSA_KEY_LIFETIME_PERSISTENT);
    psa_set_key_id(&attr, CONFIG_LIMA_CRYPTO_KEY_ID);
    psa_set_key_type(&attr,
        PSA_KEY_TYPE_ECC_KEY_PAIR(PSA_ECC_FAMILY_SECP_R1));
    psa_set_key_bits(&attr, 256);
    psa_set_key_algorithm(&attr, PSA_ALG_ECDSA(PSA_ALG_SHA_256));
    psa_set_key_usage_flags(&attr,
        PSA_KEY_USAGE_SIGN_MESSAGE | PSA_KEY_USAGE_EXPORT);

    psa_status_t status = psa_generate_key(&attr, out_key_id);
    psa_reset_key_attributes(&attr);

    if (status != PSA_SUCCESS) {
        LOG_ERR("CRYPTO: ECDSA key generation failed (%d)", status);
        return status;
    }

    LOG_INF("CRYPTO: ECDSA-P256 keypair generated (persistent, id=0x%08X)",
            *out_key_id);
    return PSA_SUCCESS;
}

/**
 * @brief Generate AES-256 PSK, persist to KMU, and log for operator capture.
 *
 * Key is generated on-device and exported to serial log in hex.
 * Operator captures the hex string from serial output and stores
 * in Bitwarden secure note for use by the web client.
 *
 * Key is generated with EXPORT flag to allow one-time log export.
 * In production, remove EXPORT flag after provisioning is confirmed.
 */
static psa_status_t provision_aes_key(psa_key_id_t *out_key_id)
{
    psa_key_attributes_t attr = PSA_KEY_ATTRIBUTES_INIT;

    psa_set_key_lifetime(&attr, PSA_KEY_LIFETIME_PERSISTENT);
    psa_set_key_id(&attr, CONFIG_LIMA_CRYPTO_AES_KEY_ID);
    psa_set_key_type(&attr, PSA_KEY_TYPE_AES);
    psa_set_key_bits(&attr, 256);
    psa_set_key_algorithm(&attr, PSA_ALG_GCM);
    psa_set_key_usage_flags(&attr,
        PSA_KEY_USAGE_ENCRYPT | PSA_KEY_USAGE_EXPORT);

    psa_status_t status = psa_generate_key(&attr, out_key_id);
    psa_reset_key_attributes(&attr);

    if (status != PSA_SUCCESS) {
        LOG_ERR("CRYPTO: AES key generation failed (%d)", status);
        return status;
    }

    /* Export and log for operator capture — store in Bitwarden secure note */
    uint8_t key_bytes[32];
    size_t  key_len;

    status = psa_export_key(*out_key_id, key_bytes, sizeof(key_bytes), &key_len);
    if (status != PSA_SUCCESS) {
        LOG_ERR("CRYPTO: AES key export failed (%d)", status);
        return status;
    }

    LOG_INF("CRYPTO: ══════════════════════════════════════════════════");
    LOG_INF("CRYPTO: AES-256 PSK generated — CAPTURE AND STORE NOW");
    LOG_INF("CRYPTO: Store in Bitwarden secure note: 'LIMA AES Key'");
    LOG_HEXDUMP_INF(key_bytes, key_len, "  AES-256 PSK:");
    LOG_INF("CRYPTO: ══════════════════════════════════════════════════");

    /* Zero key material from stack immediately after logging */
    memset(key_bytes, 0, sizeof(key_bytes));

    LOG_INF("CRYPTO: AES-256 PSK stored (persistent, id=0x%08X)", *out_key_id);
    return PSA_SUCCESS;
}

static void log_public_key(psa_key_id_t key_id)
{
    uint8_t pub[65];
    size_t  pub_len;

    psa_status_t status = psa_export_public_key(key_id, pub, sizeof(pub),
                                                &pub_len);
    if (status != PSA_SUCCESS) {
        LOG_ERR("CRYPTO: public key export failed (%d)", status);
        return;
    }

    LOG_INF("CRYPTO: ECDSA public key (%u bytes) — register with gateway:", pub_len);
    LOG_HEXDUMP_INF(pub, pub_len, "  pubkey:");
}

/* ── Public API ──────────────────────────────────────────────────────────── */

int lima_crypto_init(void)
{
    psa_status_t status;

    status = psa_crypto_init();
    if (status != PSA_SUCCESS) {
        LOG_ERR("CRYPTO: psa_crypto_init failed (%d)", status);
        return -EIO;
    }

    /* ── ECDSA signing key ───────────────────────────────────────────────── */
    psa_key_attributes_t attr = PSA_KEY_ATTRIBUTES_INIT;
    status = psa_get_key_attributes(CONFIG_LIMA_CRYPTO_KEY_ID, &attr);
    psa_reset_key_attributes(&attr);

    if (status == PSA_SUCCESS) {
        LOG_INF("CRYPTO: ECDSA key found at slot 0x%08X",
                CONFIG_LIMA_CRYPTO_KEY_ID);
        signing_key_id = CONFIG_LIMA_CRYPTO_KEY_ID;
    } else if (status == PSA_ERROR_INVALID_HANDLE ||
               status == PSA_ERROR_DOES_NOT_EXIST) {
        LOG_INF("CRYPTO: no ECDSA key at slot 0x%08X — provisioning",
                CONFIG_LIMA_CRYPTO_KEY_ID);
        status = provision_ecdsa_key(&signing_key_id);
        if (status != PSA_SUCCESS) {
            return -EIO;
        }
    } else {
        LOG_ERR("CRYPTO: ECDSA key query failed (%d)", status);
        return -EIO;
    }

    log_public_key(signing_key_id);

    /* ── AES-256 encryption key ──────────────────────────────────────────── */
    psa_key_attributes_t aes_attr = PSA_KEY_ATTRIBUTES_INIT;
    status = psa_get_key_attributes(CONFIG_LIMA_CRYPTO_AES_KEY_ID, &aes_attr);
    psa_reset_key_attributes(&aes_attr);

    if (status == PSA_SUCCESS) {
        LOG_INF("CRYPTO: AES-256 key found at slot 0x%08X",
                CONFIG_LIMA_CRYPTO_AES_KEY_ID);
        aes_key_id = CONFIG_LIMA_CRYPTO_AES_KEY_ID;
    } else if (status == PSA_ERROR_INVALID_HANDLE ||
               status == PSA_ERROR_DOES_NOT_EXIST) {
        LOG_INF("CRYPTO: no AES-256 key at slot 0x%08X — provisioning",
                CONFIG_LIMA_CRYPTO_AES_KEY_ID);
        status = provision_aes_key(&aes_key_id);
        if (status != PSA_SUCCESS) {
            return -EIO;
        }
    } else {
        LOG_ERR("CRYPTO: AES key query failed (%d)", status);
        return -EIO;
    }

    LOG_INF("CRYPTO: initialized — ECDSA-P256 + AES-256-GCM ready");
    LOG_INF("CRYPTO:   signing key:    0x%08X", signing_key_id);
    LOG_INF("CRYPTO:   encryption key: 0x%08X", aes_key_id);
    return 0;
}

void lima_crypto_build_ler(lima_ler_t *ler, const lima_event_t *evt)
{
    __ASSERT_NO_MSG(ler != NULL);
    __ASSERT_NO_MSG(evt != NULL);

    memset(ler, 0, sizeof(*ler));

    bt_addr_le_t addr;
    size_t count = 1;
    bt_id_get(&addr, &count);
    memcpy(ler->node_id, addr.a.val, sizeof(ler->node_id));

    ler->sequence     = ++sequence_counter;
    ler->timestamp_ms = evt->timestamp_ms;
    ler->event_type   = (uint8_t)evt->type;

    switch (evt->type) {
    case LIMA_EVT_MOTION_DETECTED:
    case LIMA_EVT_DUAL_BREACH:
        ler->accel_g  = evt->data.imu.accel_g;
        break;
    case LIMA_EVT_PRESSURE_BREACH:
        ler->delta_pa = evt->data.baro.delta_pa;
        break;
    case LIMA_EVT_TAMPER_DETECTED:
        break;
    default:
        break;
    }

    LOG_INF("CRYPTO: LER built — node=%02X:%02X:%02X:%02X:%02X:%02X "
            "seq=%u evt=0x%02X accel=%.2f delta_pa=%.2f",
            ler->node_id[0], ler->node_id[1], ler->node_id[2],
            ler->node_id[3], ler->node_id[4], ler->node_id[5],
            ler->sequence, ler->event_type,
            (double)ler->accel_g, (double)ler->delta_pa);
    LOG_HEXDUMP_INF((const uint8_t *)ler, sizeof(lima_ler_t), "  LER:");
}

int lima_crypto_sign_async(const lima_ler_t *ler, lima_sign_cb_t cb)
{
    if (ler == NULL || cb == NULL) {
        LOG_ERR("CRYPTO: NULL parameter");
        return -EINVAL;
    }
    if (signing_key_id == PSA_KEY_ID_NULL) {
        LOG_ERR("CRYPTO: not initialized");
        return -ECANCELED;
    }

    lima_sig_result_t result = { 0 };

    result.err = (int)psa_sign_message(
        signing_key_id,
        PSA_ALG_ECDSA(PSA_ALG_SHA_256),
        (const uint8_t *)ler,
        sizeof(lima_ler_t),
        result.sig,
        sizeof(result.sig),
        &result.sig_len
    );

    if (result.err != PSA_SUCCESS) {
        LOG_ERR("CRYPTO: psa_sign_message failed (%d)", result.err);
    } else {
        LOG_INF("CRYPTO: LER inner-signed — sig[0..3]=%02X%02X%02X%02X (%u bytes)",
                result.sig[0], result.sig[1], result.sig[2], result.sig[3],
                result.sig_len);
        LOG_HEXDUMP_INF(result.sig, result.sig_len, "  inner_sig:");
    }

    cb(&result);
    return 0;
}

int lima_crypto_build_lf(const lima_ler_t *ler,
                          const uint8_t *inner_sig,
                          size_t inner_sig_len,
                          lima_lf_t *out_lf)
{
    if (ler == NULL || inner_sig == NULL || out_lf == NULL) {
        LOG_ERR("CRYPTO: build_lf NULL parameter");
        return -EINVAL;
    }
    if (inner_sig_len != LIMA_LF_OUTER_SIG_LEN) {
        LOG_ERR("CRYPTO: inner_sig_len %u != 64", inner_sig_len);
        return -EINVAL;
    }
    if (aes_key_id == PSA_KEY_ID_NULL) {
        LOG_ERR("CRYPTO: AES key not initialized");
        return -ECANCELED;
    }
    if (signing_key_id == PSA_KEY_ID_NULL) {
        LOG_ERR("CRYPTO: signing key not initialized");
        return -ECANCELED;
    }

    psa_status_t status;

    /* ── Step 1: Zero the LF and fill header ────────────────────────────── */
    memset(out_lf, 0, sizeof(*out_lf));
    out_lf->proto_version = 0x02;
    out_lf->event_type    = ler->event_type;
    /* reserved stays zero */

    /* ── Step 2: Generate random nonce ─────────────────────────────────── */
    status = psa_generate_random(out_lf->nonce, sizeof(out_lf->nonce));
    if (status != PSA_SUCCESS) {
        LOG_ERR("CRYPTO: nonce generation failed (%d)", status);
        return -EIO;
    }
    LOG_INF("CRYPTO: nonce[0..3]=%02X%02X%02X%02X",
            out_lf->nonce[0], out_lf->nonce[1],
            out_lf->nonce[2], out_lf->nonce[3]);

    /* ── Step 3: AES-256-GCM encrypt (LER || inner_sig) ─────────────────── */
    /*
     * Plaintext:  LER (24B) || inner_sig (64B) = 88B
     * AAD:        LF header (4B) — authenticated but not encrypted
     * Output:     ciphertext (88B) || gcm_tag (16B) = 104B total from PSA
     *
     * psa_aead_encrypt() appends the tag at the end of the ciphertext buffer.
     * We split it: first 88B → lf.ciphertext, last 16B → lf.gcm_tag.
     */
    uint8_t plaintext[LIMA_LF_PLAINTEXT_LEN];
    memcpy(plaintext,                        ler,       sizeof(lima_ler_t));
    memcpy(plaintext + sizeof(lima_ler_t),   inner_sig, inner_sig_len);

    /* PSA output buffer: ciphertext (88B) + tag (16B) */
    uint8_t aead_out[LIMA_LF_CIPHERTEXT_LEN + LIMA_LF_TAG_LEN];
    size_t  aead_out_len = 0;

    /* AAD = LF header bytes [0..3] */
    const uint8_t *aad     = (const uint8_t *)out_lf;
    size_t         aad_len = LIMA_LF_HEADER_LEN;

    status = psa_aead_encrypt(
        aes_key_id,
        PSA_ALG_GCM,
        out_lf->nonce,  sizeof(out_lf->nonce),
        aad,            aad_len,
        plaintext,      sizeof(plaintext),
        aead_out,       sizeof(aead_out),
        &aead_out_len
    );

    /* Zero plaintext from stack immediately */
    memset(plaintext, 0, sizeof(plaintext));

    if (status != PSA_SUCCESS) {
        LOG_ERR("CRYPTO: psa_aead_encrypt failed (%d)", status);
        return -EIO;
    }

    if (aead_out_len != LIMA_LF_CIPHERTEXT_LEN + LIMA_LF_TAG_LEN) {
        LOG_ERR("CRYPTO: unexpected aead output len %u", aead_out_len);
        return -EIO;
    }

    /* Split PSA output into ciphertext and gcm_tag fields */
    memcpy(out_lf->ciphertext, aead_out,                       LIMA_LF_CIPHERTEXT_LEN);
    memcpy(out_lf->gcm_tag,    aead_out + LIMA_LF_CIPHERTEXT_LEN, LIMA_LF_TAG_LEN);

    LOG_INF("CRYPTO: AES-256-GCM encrypt done — "
            "ciphertext[0..3]=%02X%02X%02X%02X tag[0..3]=%02X%02X%02X%02X",
            out_lf->ciphertext[0], out_lf->ciphertext[1],
            out_lf->ciphertext[2], out_lf->ciphertext[3],
            out_lf->gcm_tag[0],    out_lf->gcm_tag[1],
            out_lf->gcm_tag[2],    out_lf->gcm_tag[3]);

    /* ── Step 4: ECDSA-P256 outer sign over LF[0..120] ──────────────────── */
    /*
     * Signed region: proto_version(1) + event_type(1) + reserved(2) +
     *                nonce(12) + ciphertext(88) + gcm_tag(16) = 120B
     * Covers everything except outer_sig itself.
     */
    size_t outer_sig_len = 0;

    status = psa_sign_message(
        signing_key_id,
        PSA_ALG_ECDSA(PSA_ALG_SHA_256),
        (const uint8_t *)out_lf,
        LIMA_LF_SIGNED_LEN,
        out_lf->outer_sig,
        sizeof(out_lf->outer_sig),
        &outer_sig_len
    );

    if (status != PSA_SUCCESS) {
        LOG_ERR("CRYPTO: outer psa_sign_message failed (%d)", status);
        return -EIO;
    }

    LOG_INF("CRYPTO: LF outer-signed — outer_sig[0..3]=%02X%02X%02X%02X (%u bytes)",
            out_lf->outer_sig[0], out_lf->outer_sig[1],
            out_lf->outer_sig[2], out_lf->outer_sig[3],
            outer_sig_len);
    LOG_HEXDUMP_INF((const uint8_t *)out_lf, sizeof(lima_lf_t), "  LF:");

    LOG_INF("CRYPTO: LF assembled — 184B encrypted+signed ✓");
    return 0;
}
```
